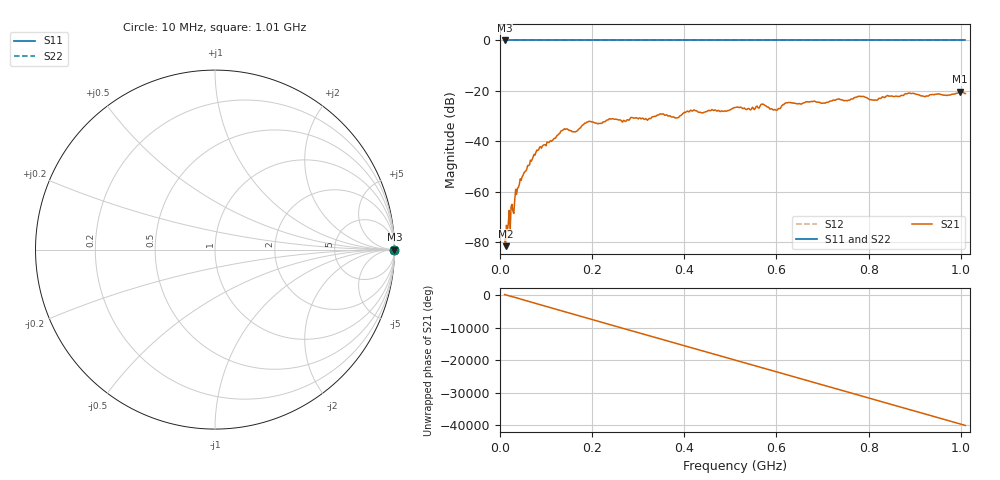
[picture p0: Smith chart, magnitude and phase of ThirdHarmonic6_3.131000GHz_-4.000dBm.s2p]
! 8/17/2025 9:19:07 AM
! C:\ANRITSUVNA\TEMP\TEMP.S2P
! CHANNEL.1
! TR.MEASUREMENT
! RAW.DATA
! RF.CORRECTION.OFF
! AVERAGING.OFF
! IF.BANDWIDTH: 5KHZ
! SWEEPTYPE:  FREQ.SWEEP(Linear)
! Reference Plane Port Info
! PORT:  PORT1  PORT2
! DISTANCE:  0  m  0  m
! TIME:  0  s  0  s
! PHASE.OFFSET:  0  deg.  0  deg.
! LOSS:  0  dB  0  dB
! REF.LOSS:  0  dB  0  dB
! REF.FREQ:  0  Hz  0  Hz
! Power Info
! POWER:  -20  dBm  -20  dBm
! EFF.POWER:  -20  dBm  -20  dBm
! SOURCE.ATTEN:  0  dB  0  dB
! TEST.ATTEN:  0  dB  0  dB
# GHZ S RI R 50.0
! FREQ.GHZ  S11RE  S11IM  S21RE  S21IM  S12RE  S12IM  S22RE  S22IM
!; PortSelection: Port_12
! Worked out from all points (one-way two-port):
!   501 points, 10 MHz to 1.01 GHz, reference 50 ohm
!   highest |S21| = -20.34 dB at 998 MHz (marker M1); lowest = -81.5 dB at 12 MHz (marker M2)
!   lowest |S11| = 0.0 dB at 10 MHz (marker M3)
!   |S11| at or under -10 dB: nowhere
!   |S22| runs from 0.0 to 0.0 dB; largest |S21 - S12| = 1.1
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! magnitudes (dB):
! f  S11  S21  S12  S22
! 10 MHz  0.0  -78.8  0.0  0.0
! 12 MHz  0.0  -81.5  0.0  0.0
! 38 MHz  0.0  -58.6  0.0  0.0
! 76 MHz  0.0  -45.4  0.0  0.0
! 136 MHz  0.0  -35.6  0.0  0.0
! 164 MHz  0.0  -36.2  0.0  0.0
! 178 MHz  0.0  -33.7  0.0  0.0
! 192 MHz  0.0  -32.2  0.0  0.0
! 318 MHz  0.0  -31.2  0.0  0.0
! 344 MHz  0.0  -29.6  0.0  0.0
! 384 MHz  0.0  -30.7  0.0  0.0
! 418 MHz  0.0  -28.0  0.0  0.0
! 510 MHz  0.0  -26.6  0.0  0.0
! 570 MHz  0.0  -25.3  0.0  0.0
! 598 MHz  0.0  -27.5  0.0  0.0
! 622 MHz  0.0  -24.7  0.0  0.0
! 678 MHz  0.0  -24.2  0.0  0.0
! 782 MHz  0.0  -22.2  0.0  0.0
! 814 MHz  0.0  -23.6  0.0  0.0
! 844 MHz  0.0  -22.1  0.0  0.0
! 998 MHz  0.0  -20.3  0.0  0.0
! 1.01 GHz  0.0  -21.0  0.0  0.0
